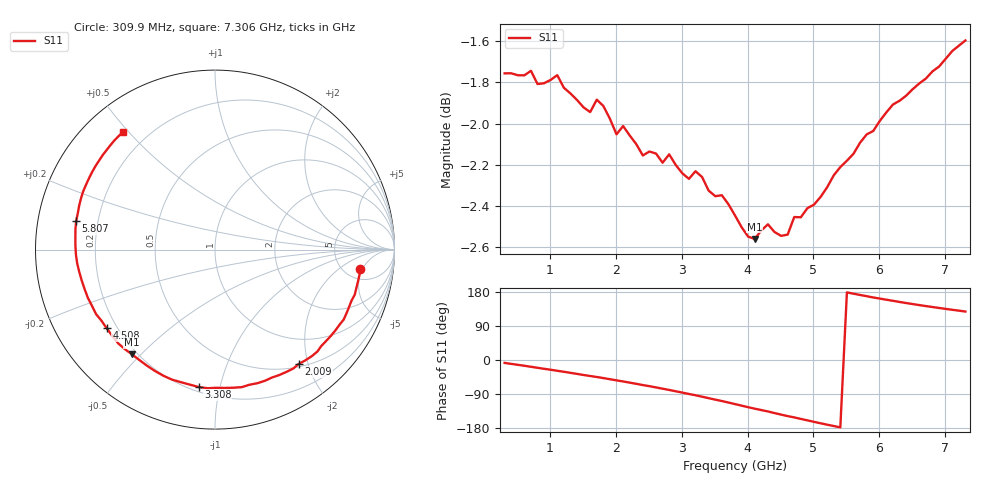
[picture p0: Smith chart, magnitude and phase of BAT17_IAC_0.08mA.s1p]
! Infineon Technologies  Discrete & RF Semiconductors
! BAT17
! IAC = 0.08 mA
! One-Port S-Parameters
# Hz  S  MA  R  50
!f  S11
!Hz  Mag  Ang
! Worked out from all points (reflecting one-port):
!   71 points, 309.9 MHz to 7.306 GHz, reference 50 ohm
!   lowest |S11| = -2.6 dB at 4.108 GHz (marker M1), VSWR 6.83, Z = 8.98 - j23.5 ohm
!   phase of S11 starts at -8 deg and turns -224 deg over the sweep
!   S11 on the Smith chart (normalised r, x): 309.9 MHz: 6.88, -4.54; 2.009 GHz: 0.55, -1.85; 3.308 GHz: 0.23, -0.86; 4.508 GHz: 0.16, -0.32; 5.807 GHz: 0.12, +0.10; 7.306 GHz: 0.11, +0.48
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3.0985e8  0.8169 -7.7
7.0965e8  0.8181 -17.9
1.10945e9  0.8161 -28.5
1.2094e9  0.8104 -31.1
1.70915e9  0.805 -44.8
2.009e9  0.7895 -53.8
2.10895e9  0.7932 -56.6
2.6087e9  0.7811 -72.3
2.8086e9  0.7808 -79.0
3.0085e9  0.7725 -86.0
3.2084e9  0.7734 -93.0
3.30835e9  0.7709 -96.8
3.6082e9  0.7631 -108.2
3.8081e9  0.7545 -116.3
4.10795e9  0.7446 -128.5
4.30785e9  0.7508 -135.8
4.50775e9  0.7459 -144.1
4.70765e9  0.7538 -151.5
4.90755e9  0.7576 -159.3
5.2074e9  0.7665 -170.7
5.4073e9  0.7752 -177.9
5.6072e9  0.781 174.9
5.8071e9  0.7895 168.4
5.90705e9  0.791 165.0
6.2069e9  0.8028 156.2
6.50675e9  0.8098 147.6
6.90655e9  0.8201 137.3
7.30635e9  0.8321 127.9
